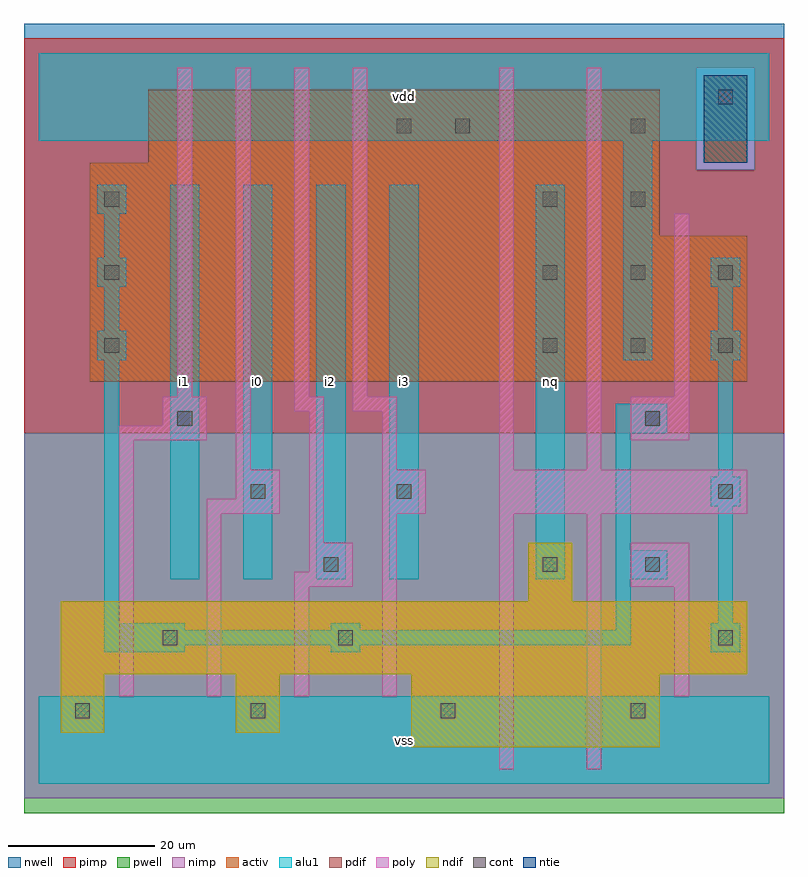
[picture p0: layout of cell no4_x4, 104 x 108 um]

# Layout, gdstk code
import gdstk
lib = gdstk.Library(unit=1e-6, precision=1e-09)
def R(c, l, rs):  # rectangles x0, y0, x1, y1
    for r in rs: c.add(gdstk.rectangle(r[:2], r[2:], *l))
def A(c, l, x, y, w, h, nx, ny, dx, dy):  # array of equal rectangles
    R(c, l, [(x+i*dx, y+j*dy, x+i*dx+w, y+j*dy+h) for i in range(nx) for j in range(ny)])
ndif = (3, 0)
pdif = (4, 0)
ntie = (5, 0)
cont = (25, 0)
pwell = (41, 0)
nwell = (42, 0)
activ = (43, 0)
pimp = (44, 0)
nimp = (45, 0)
poly = (46, 0)
alu1 = (49, 0)

no4_x4 = lib.new_cell('no4_x4')
R(no4_x4, ndif, [(51,5,85,15), (3,7,9,15), (27,7,33,15), (3,15,97,25), (67,25,73,33)])
R(no4_x4, pdif, [(7,55,97,75), (7,75,85,85), (15,85,85,95)])
R(no4_x4, ntie, [(91,85,97,97)])
A(no4_x4, cont, 29, 9, 2, 2, 3, 1, 26, 0)
A(no4_x4, cont, 9, 59, 2, 2, 1, 3, 0, 10)
A(no4_x4, cont, 69, 59, 2, 2, 3, 2, 12, 10)
R(no4_x4, cont, [(5,9,7,11), (17,19,19,21), (41,19,43,21), (93,19,95,21), (39,29,41,31), (69,29,71,31), (83,29,85,31), (29,39,31,41), (49,39,51,41), (93,39,95,41), (19,49,21,51), (83,49,85,51), (69,79,71,81), (81,79,83,81), (49,89,51,91), (57,89,59,91), (81,89,83,91), (93,93,95,95)])
R(no4_x4, pwell, [(-2,-4,102,48)])
R(no4_x4, nwell, [(-2,48,102,104)])
R(no4_x4, activ, [(51,5,85,15), (3,7,9,15), (27,7,33,15), (3,15,97,25), (67,25,73,33), (7,55,97,75), (7,75,85,85), (15,85,85,95), (91,85,97,97)])
R(no4_x4, pimp, [(-2,48,102,84), (-2,84,90,98), (98,84,102,98), (-2,98,102,102)])
R(no4_x4, nimp, [(-2,-2,102,48), (90,84,98,98)])
R(no4_x4, poly, [(63,2,65,37), (75,2,77,37), (11,12,13,47), (23,12,25,37), (35,12,37,27), (47,12,49,37), (87,12,89,27), (35,27,43,29), (81,27,89,33), (37,29,43,33), (37,33,39,51), (23,37,33,39), (47,37,53,43), (63,37,97,43), (27,39,33,43), (27,43,29,98), (47,43,49,51), (63,43,65,98), (75,43,77,98), (11,47,23,49), (81,47,89,53), (17,49,23,53), (35,51,39,53), (43,51,49,53), (19,53,21,98), (35,53,37,98), (43,53,45,98), (87,53,89,78)])
A(no4_x4, alu1, 92, 18, 4, 4, 1, 3, 0, 20)
A(no4_x4, alu1, 18, 28, 4, 54, 4, 1, 10, 0)
A(no4_x4, alu1, 8, 58, 4, 4, 1, 3, 0, 10)
R(no4_x4, alu1, [(0,0,100,12), (9,18,20,19), (40,18,44,19), (9,19,81,21), (9,21,20,22), (40,21,44,22), (79,21,81,28), (9,22,11,58), (93,22,95,38), (68,28,72,82), (79,28,86,32), (79,32,81,48), (93,42,95,58), (79,48,86,52), (80,58,84,88), (9,62,11,68), (93,62,95,68), (92,68,96,72), (9,72,11,78), (0,88,100,100)])
no4_x4.add(gdstk.Label('i1', (20,55), layer=49, texttype=0))
no4_x4.add(gdstk.Label('i2', (40,55), layer=49, texttype=0))
no4_x4.add(gdstk.Label('i0', (30,55), layer=49, texttype=0))
no4_x4.add(gdstk.Label('vss', (50,6), layer=49, texttype=0))
no4_x4.add(gdstk.Label('nq', (70,55), layer=49, texttype=0))
no4_x4.add(gdstk.Label('i3', (50,55), layer=49, texttype=0))
no4_x4.add(gdstk.Label('vdd', (50,94), layer=49, texttype=0))

lib.write_gds('no4_x4.gds')
